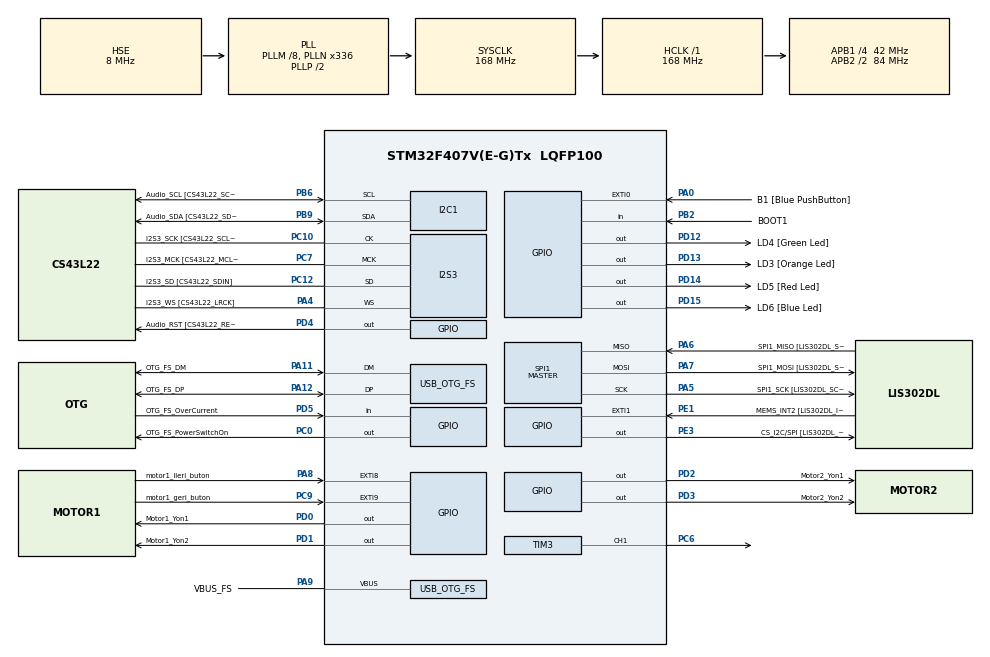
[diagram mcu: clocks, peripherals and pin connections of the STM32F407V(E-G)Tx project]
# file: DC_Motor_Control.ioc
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I2S3.AudioFreq-Half_Duplex_Master=I2S_AUDIOFREQ_96K
I2S3.ErrorAudioFreq=-2.34 %
I2S3.ErrorAudioFreq-Half_Duplex_Master=0.8 %
I2S3.FullDuplexMode=I2S_FULLDUPLEXMODE_DISABLE
I2S3.Instance=SPI$Index
I2S3.RealAudioFreq=93.75 KHz
I2S3.RealAudioFreq-Half_Duplex_Master=96.774 KHz
I2S3.VirtualMode=I2S_MODE_MASTER
Mcu.Family=STM32F4
Mcu.Name=STM32F407V(E-G)Tx
Mcu.Package=LQFP100
NVIC.EXTI9_5_IRQn=true\:0\:0\:false\:false\:true\:true\:true\:true
NVIC.OTG_FS_IRQn=true\:0\:0\:false\:false\:true\:true\:true\:true
NVIC.PriorityGroup=NVIC_PRIORITYGROUP_0
NVIC.TIM3_IRQn=true\:0\:0\:false\:false\:true\:true\:true\:true
PA0-WKUP.GPIO_Label=B1 [Blue PushButton]
PA0-WKUP.GPIO_ModeDefaultEXTI=GPIO_MODE_EVT_RISING
PA0-WKUP.GPIO_PuPd=GPIO_NOPULL
PA0-WKUP.Signal=GPXTI0
PA10.GPIO_Label=OTG_FS_ID
PA10.GPIO_Mode=GPIO_MODE_AF_PP
PA10.GPIO_PuPd=GPIO_NOPULL
PA10.GPIO_Speed=GPIO_SPEED_FREQ_LOW
PA10.Signal=USB_OTG_FS_ID
PA11.GPIO_Label=OTG_FS_DM
PA11.GPIO_Mode=GPIO_MODE_AF_PP
PA11.GPIO_PuPd=GPIO_NOPULL
PA11.GPIO_Speed=GPIO_SPEED_FREQ_LOW
PA11.Mode=Host_Only
PA11.Signal=USB_OTG_FS_DM
PA12.GPIO_Label=OTG_FS_DP
PA12.GPIO_Mode=GPIO_MODE_AF_PP
PA12.GPIO_PuPd=GPIO_NOPULL
PA12.GPIO_Speed=GPIO_SPEED_FREQ_LOW
PA12.Mode=Host_Only
PA12.Signal=USB_OTG_FS_DP
PA13.GPIO_Label=SWDIO
PA13.Mode=Serial_Wire
PA13.Signal=SYS_JTMS-SWDIO
PA14.GPIO_Label=SWCLK
PA14.Mode=Serial_Wire
PA14.Signal=SYS_JTCK-SWCLK
PA4.GPIO_Label=I2S3_WS [CS43L22_LRCK]
PA4.GPIO_Mode=GPIO_MODE_AF_PP
PA4.GPIO_PuPd=GPIO_NOPULL
PA4.GPIO_Speed=GPIO_SPEED_FREQ_LOW
PA4.Mode=Half_Duplex_Master
PA4.Signal=I2S3_WS
PA5.GPIO_Label=SPI1_SCK [LIS302DL_SCL/SPC]
PA5.GPIO_Mode=GPIO_MODE_AF_PP
PA5.GPIO_PuPd=GPIO_NOPULL
PA5.GPIO_Speed=GPIO_SPEED_FREQ_LOW
PA5.Mode=Full_Duplex_Master
PA5.Signal=SPI1_SCK
PA6.GPIO_Label=SPI1_MISO [LIS302DL_SDO]
PA6.GPIO_Mode=GPIO_MODE_AF_PP
PA6.GPIO_PuPd=GPIO_NOPULL
PA6.GPIO_Speed=GPIO_SPEED_FREQ_LOW
PA6.Mode=Full_Duplex_Master
PA6.Signal=SPI1_MISO
PA7.GPIO_Label=SPI1_MOSI [LIS302DL_SDA/SDI/SDO]
PA7.GPIO_Mode=GPIO_MODE_AF_PP
PA7.GPIO_PuPd=GPIO_NOPULL
PA7.GPIO_Speed=GPIO_SPEED_FREQ_LOW
PA7.Mode=Full_Duplex_Master
PA7.Signal=SPI1_MOSI
PA8.GPIO_Label=motor1_ileri_buton
PA8.Signal=GPXTI8
PA9.GPIO_Label=VBUS_FS
PA9.GPIO_Mode=GPIO_MODE_INPUT
PA9.GPIO_PuPd=GPIO_NOPULL
PA9.Mode=Activate_VBUS
PA9.Signal=USB_OTG_FS_VBUS
PB10.GPIO_Label=CLK_IN [MP45DT02_CLK]
PB10.GPIO_Mode=GPIO_MODE_AF_PP
PB10.GPIO_PuPd=GPIO_NOPULL
PB10.GPIO_Speed=GPIO_SPEED_FREQ_LOW
PB10.Signal=I2S2_CK
PB2.GPIO_Label=BOOT1
PB2.GPIO_Mode=GPIO_MODE_INPUT
PB2.GPIO_PuPd=GPIO_NOPULL
PB2.Signal=GPIO_Input
PB3.GPIO_Label=SWO
PB3.Signal=SYS_JTDO-SWO
PB6.GPIO_Label=Audio_SCL [CS43L22_SCL]
PB6.GPIO_Mode=GPIO_MODE_AF_OD
PB6.GPIO_Pu=GPIO_PULLUP
PB6.GPIO_PuPd=GPIO_NOPULL
PB6.GPIO_Speed=GPIO_SPEED_FREQ_LOW
PB6.Mode=I2C
PB6.Signal=I2C1_SCL
PB9.GPIO_Label=Audio_SDA [CS43L22_SDA]
PB9.GPIO_Mode=GPIO_MODE_AF_OD
PB9.GPIO_Pu=GPIO_PULLUP
PB9.GPIO_PuPd=GPIO_NOPULL
PB9.GPIO_Speed=GPIO_SPEED_FREQ_LOW
PB9.Mode=I2C
PB9.Signal=I2C1_SDA
PC0.GPIO_Label=OTG_FS_PowerSwitchOn
PC0.GPIO_PuPd=GPIO_NOPULL
PC0.GPIO_Speed=GPIO_SPEED_FREQ_LOW
PC0.PinState=GPIO_PIN_SET
PC0.Signal=GPIO_Output
PC10.GPIO_Label=I2S3_SCK [CS43L22_SCLK]
PC10.GPIO_Mode=GPIO_MODE_AF_PP
PC10.GPIO_PuPd=GPIO_NOPULL
PC10.GPIO_Speed=GPIO_SPEED_FREQ_LOW
PC10.Mode=Half_Duplex_Master
PC10.Signal=I2S3_CK
PC12.GPIO_Label=I2S3_SD [CS43L22_SDIN]
PC12.GPIO_Mode=GPIO_MODE_AF_PP
PC12.GPIO_PuPd=GPIO_NOPULL
PC12.GPIO_Speed=GPIO_SPEED_FREQ_LOW
PC12.Mode=Half_Duplex_Master
PC12.Signal=I2S3_SD
PC14-OSC32_IN.GPIO_Label=PC14-OSC32_IN
PC14-OSC32_IN.Mode=LSE-External-Oscillator
PC14-OSC32_IN.Signal=RCC_OSC32_IN
PC15-OSC32_OUT.GPIO_Label=PC15-OSC32_OUT
PC15-OSC32_OUT.Mode=LSE-External-Oscillator
PC15-OSC32_OUT.Signal=RCC_OSC32_OUT
PC3.GPIO_Label=PDM_OUT [MP45DT02_DOUT]
PC3.GPIO_Mode=GPIO_MODE_AF_PP
PC3.GPIO_PuPd=GPIO_NOPULL
PC3.GPIO_Speed=GPIO_SPEED_FREQ_LOW
PC3.Signal=I2S2_SD
PC6.Signal=S_TIM3_CH1
PC7.GPIO_Label=I2S3_MCK [CS43L22_MCLK]
PC7.GPIO_Mode=GPIO_MODE_AF_PP
PC7.GPIO_PuPd=GPIO_NOPULL
PC7.GPIO_Speed=GPIO_SPEED_FREQ_LOW
PC7.Mode=Master_Clock_Activated
PC7.Signal=I2S3_MCK
PC9.GPIO_Label=motor1_geri_buton
PC9.Signal=GPXTI9
PD0.GPIO_Label=Motor1_Yon1
PD0.Signal=GPIO_Output
PD1.GPIO_Label=Motor1_Yon2
PD1.Signal=GPIO_Output
PD12.GPIO_Label=LD4 [Green Led]
PD12.GPIO_PuPd=GPIO_NOPULL
PD12.GPIO_Speed=GPIO_SPEED_FREQ_LOW
PD12.Signal=GPIO_Output
PD13.GPIO_Label=LD3 [Orange Led]
PD13.GPIO_PuPd=GPIO_NOPULL
PD13.GPIO_Speed=GPIO_SPEED_FREQ_LOW
PD13.Signal=GPIO_Output
PD14.GPIO_Label=LD5 [Red Led]
PD14.GPIO_PuPd=GPIO_NOPULL
PD14.GPIO_Speed=GPIO_SPEED_FREQ_LOW
PD14.Signal=GPIO_Output
PD15.GPIO_Label=LD6 [Blue Led]
PD15.GPIO_PuPd=GPIO_NOPULL
PD15.GPIO_Speed=GPIO_SPEED_FREQ_LOW
PD15.Signal=GPIO_Output
PD2.GPIO_Label=Motor2_Yon1
PD2.Signal=GPIO_Output
PD3.GPIO_Label=Motor2_Yon2
PD3.Signal=GPIO_Output
PD4.GPIO_Label=Audio_RST [CS43L22_RESET]
PD4.GPIO_PuPd=GPIO_NOPULL
PD4.GPIO_Speed=GPIO_SPEED_FREQ_LOW
PD4.Signal=GPIO_Output
PD5.GPIO_Label=OTG_FS_OverCurrent
PD5.GPIO_Mode=GPIO_MODE_INPUT
PD5.GPIO_PuPd=GPIO_NOPULL
PD5.Signal=GPIO_Input
PE1.GPIO_Label=MEMS_INT2 [LIS302DL_INT2]
PE1.GPIO_ModeDefaultEXTI=GPIO_MODE_EVT_RISING
PE1.GPIO_PuPd=GPIO_NOPULL
PE1.Signal=GPXTI1
PE3.GPIO_Label=CS_I2C/SPI [LIS302DL_CS_I2C/SPI]
PE3.GPIO_PuPd=GPIO_NOPULL
PE3.GPIO_Speed=GPIO_SPEED_FREQ_LOW
PE3.Signal=GPIO_Output
PH0-OSC_IN.GPIO_Label=PH0-OSC_IN
PH0-OSC_IN.Mode=HSE-External-Oscillator
PH0-OSC_IN.Signal=RCC_OSC_IN
PH1-OSC_OUT.GPIO_Label=PH1-OSC_OUT
PH1-OSC_OUT.Mode=HSE-External-Oscillator
PH1-OSC_OUT.Signal=RCC_OSC_OUT
ProjectManager.HeapSize=0x200
ProjectManager.StackSize=0x400
ProjectManager.TargetToolchain=STM32CubeIDE
RCC.48MHZClocksFreq_Value=48000000
RCC.AHBFreq_Value=168000000
RCC.APB1CLKDivider=RCC_HCLK_DIV4
RCC.APB1Freq_Value=42000000
RCC.APB1TimFreq_Value=84000000
RCC.APB2CLKDivider=RCC_HCLK_DIV2
RCC.APB2Freq_Value=84000000
RCC.APB2TimFreq_Value=168000000
RCC.CortexFreq_Value=168000000
RCC.HCLKFreq_Value=168000000
RCC.HSE_VALUE=8000000
RCC.HSI_VALUE=16000000
RCC.PLLM=8
RCC.PLLN=336
RCC.PLLQ=7
RCC.SYSCLKFreq_VALUE=168000000
RCC.SYSCLKSource=RCC_SYSCLKSOURCE_PLLCLK
RCC.VCOOutputFreq_Value=336000000
SH.S_TIM3_CH1.0=TIM3_CH1,PWM Generation1 CH1
SPI1.BaudRatePrescaler-Full_Duplex_Master=SPI_BAUDRATEPRESCALER_2
SPI1.CalculateBaudRate-Full_Duplex_Master=42.0 MBits/s
SPI1.Direction=SPI_DIRECTION_2LINES
SPI1.Mode=SPI_MODE_MASTER
SPI1.Mode-Full_Duplex_Master=SPI_MODE_MASTER
SPI1.VirtualType=VM_MASTER
TIM3.Channel-PWM\ Generation1\ CH1=TIM_CHANNEL_1
TIM3.Period=1000-1
TIM3.Prescaler=84-1
USB_HOST.BSP.number=1
USB_HOST.USBH_HandleTypeDef-CDC_FS=hUsbHostFS
USB_HOST.VirtualModeFS=Cdc
USB_HOST0.BSP.STBoard=false
USB_HOST0.BSP.api=Unknown
USB_HOST0.BSP.instance=PC0
USB_HOST0.BSP.ip=GPIO
USB_HOST0.BSP.mode=Output
USB_HOST0.BSP.name=Drive_VBUS_FS
USB_HOST0.BSP.solution=PC0
USB_OTG_FS.VirtualMode=Host_Only
USB_OTG_FS.phy_itface=HCD_PHY_EMBEDDED
VP_TIM3_VS_ClockSourceINT.Mode=Internal
VP_USB_HOST_VS_USB_HOST_CDC_FS.Mode=CDC_FS
board=STM32F407G-DISC1

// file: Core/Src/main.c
/* USER CODE BEGIN Header */
/**
  ******************************************************************************
  * @file           : main.c
  * @brief          : Main program body
  ******************************************************************************
  * @attention
  *
  * Copyright (c) 2024 STMicroelectronics.
  * All rights reserved.
  *
  * This software is licensed under terms that can be found in the LICENSE file
  * in the root directory of this software component.
  * If no LICENSE file comes with this software, it is provided AS-IS.
  *
  ******************************************************************************
  */
/* USER CODE END Header */
#include "main.h"
#include "usb_host.h"

I2C_HandleTypeDef hi2c1;

I2S_HandleTypeDef hi2s3;

SPI_HandleTypeDef hspi1;

TIM_HandleTypeDef htim3;

void SystemClock_Config(void);
static void MX_GPIO_Init(void);
static void MX_I2C1_Init(void);
static void MX_I2S3_Init(void);
static void MX_SPI1_Init(void);
static void MX_TIM3_Init(void);
void MX_USB_HOST_Process(void);

int main(void)
{

  /* MCU Configuration--------------------------------------------------------*/

  /* Reset of all peripherals, Initializes the Flash interface and the Systick. */
  HAL_Init();

  /* Configure the system clock */
  SystemClock_Config();

  /* Initialize all configured peripherals */
  MX_GPIO_Init();
  MX_I2C1_Init();
  MX_I2S3_Init();
  MX_SPI1_Init();
  MX_USB_HOST_Init();
  MX_TIM3_Init();
  /* USER CODE BEGIN 2 */

  	  HAL_TIM_PWM_Start(&htim3, TIM_CHANNEL_1);

  /* USER CODE END 2 */

  /* Infinite loop */
  /* USER CODE BEGIN WHILE */

  	  /* Bu uygulamada, iki buton, DC motor sürücü ve DC motor kullanılmaktadır.
  	   * Butonlardan birisi ileri gitmesi diğeri geri gitmesi için kullanılmaktadır.
  	   * Uygulamada motor hızları sabit tutulmuştur.
  	   * Bir sonraki uygulamada hız ayarı ve sağa sola dönme işlemleride yapılacaktır.
  	   */

  while (1)
  {
	  int duty_cycle = 500;
	  int duty_cycle_off = 0;

	  GPIO_PinState motor1_ileri_Buton_Durumu = HAL_GPIO_ReadPin(motor1_ileri_buton_GPIO_Port, motor1_ileri_buton_Pin);
	  GPIO_PinState motor1_geri_Buton_Durumu= HAL_GPIO_ReadPin(motor1_geri_buton_GPIO_Port, motor1_geri_buton_Pin);

	  if(motor1_ileri_Buton_Durumu == 1)
	  {
		  HAL_GPIO_WritePin(Motor1_Yon1_GPIO_Port, Motor1_Yon1_Pin, 1);
		  HAL_GPIO_WritePin(Motor1_Yon2_GPIO_Port, Motor1_Yon2_Pin, 0);
	  	  __HAL_TIM_SET_COMPARE(&htim3, TIM_CHANNEL_1, duty_cycle);
	  }

	  else if(motor1_geri_Buton_Durumu == 1)
	  {
		  HAL_GPIO_WritePin(Motor1_Yon1_GPIO_Port, Motor1_Yon1_Pin, 0);
		  HAL_GPIO_WritePin(Motor1_Yon2_GPIO_Port, Motor1_Yon2_Pin, 1);
	  	  __HAL_TIM_SET_COMPARE(&htim3, TIM_CHANNEL_1, duty_cycle);
	  }

	  else
	  {
		  HAL_GPIO_WritePin(Motor1_Yon1_GPIO_Port, Motor1_Yon1_Pin, 0);
		  HAL_GPIO_WritePin(Motor1_Yon2_GPIO_Port, Motor1_Yon2_Pin, 0);
	  	  __HAL_TIM_SET_COMPARE(&htim3, TIM_CHANNEL_1, duty_cycle_off);
	  }

    /* USER CODE END WHILE */
    MX_USB_HOST_Process();

  }
}

void SystemClock_Config(void)
{
  RCC_OscInitTypeDef RCC_OscInitStruct = {0};
  RCC_ClkInitTypeDef RCC_ClkInitStruct = {0};

  /** Configure the main internal regulator output voltage
  */
  __HAL_RCC_PWR_CLK_ENABLE();
  __HAL_PWR_VOLTAGESCALING_CONFIG(PWR_REGULATOR_VOLTAGE_SCALE1);

  /** Initializes the RCC Oscillators according to the specified parameters
  * in the RCC_OscInitTypeDef structure.
  */
  RCC_OscInitStruct.OscillatorType = RCC_OSCILLATORTYPE_HSE;
  RCC_OscInitStruct.HSEState = RCC_HSE_ON;
  RCC_OscInitStruct.PLL.PLLState = RCC_PLL_ON;
  RCC_OscInitStruct.PLL.PLLSource = RCC_PLLSOURCE_HSE;
  RCC_OscInitStruct.PLL.PLLM = 8;
  RCC_OscInitStruct.PLL.PLLN = 336;
  RCC_OscInitStruct.PLL.PLLP = RCC_PLLP_DIV2;
  RCC_OscInitStruct.PLL.PLLQ = 7;
  if (HAL_RCC_OscConfig(&RCC_OscInitStruct) != HAL_OK)
  {
    Error_Handler();
  }

  /** Initializes the CPU, AHB and APB buses clocks
  */
  RCC_ClkInitStruct.ClockType = RCC_CLOCKTYPE_HCLK|RCC_CLOCKTYPE_SYSCLK
                              |RCC_CLOCKTYPE_PCLK1|RCC_CLOCKTYPE_PCLK2;
  RCC_ClkInitStruct.SYSCLKSource = RCC_SYSCLKSOURCE_PLLCLK;
  RCC_ClkInitStruct.AHBCLKDivider = RCC_SYSCLK_DIV1;
  RCC_ClkInitStruct.APB1CLKDivider = RCC_HCLK_DIV4;
  RCC_ClkInitStruct.APB2CLKDivider = RCC_HCLK_DIV2;

  if (HAL_RCC_ClockConfig(&RCC_ClkInitStruct, FLASH_LATENCY_5) != HAL_OK)
  {
    Error_Handler();
  }
}

static void MX_I2C1_Init(void)
{

  hi2c1.Instance = I2C1;
  hi2c1.Init.ClockSpeed = 100000;
  hi2c1.Init.DutyCycle = I2C_DUTYCYCLE_2;
  hi2c1.Init.OwnAddress1 = 0;
  hi2c1.Init.AddressingMode = I2C_ADDRESSINGMODE_7BIT;
  hi2c1.Init.DualAddressMode = I2C_DUALADDRESS_DISABLE;
  hi2c1.Init.OwnAddress2 = 0;
  hi2c1.Init.GeneralCallMode = I2C_GENERALCALL_DISABLE;
  hi2c1.Init.NoStretchMode = I2C_NOSTRETCH_DISABLE;
  if (HAL_I2C_Init(&hi2c1) != HAL_OK)
  {
    Error_Handler();
  }

}

static void MX_I2S3_Init(void)
{

  hi2s3.Instance = SPI3;
  hi2s3.Init.Mode = I2S_MODE_MASTER_TX;
  hi2s3.Init.Standard = I2S_STANDARD_PHILIPS;
  hi2s3.Init.DataFormat = I2S_DATAFORMAT_16B;
  hi2s3.Init.MCLKOutput = I2S_MCLKOUTPUT_ENABLE;
  hi2s3.Init.AudioFreq = I2S_AUDIOFREQ_96K;
  hi2s3.Init.CPOL = I2S_CPOL_LOW;
  hi2s3.Init.ClockSource = I2S_CLOCK_PLL;
  hi2s3.Init.FullDuplexMode = I2S_FULLDUPLEXMODE_DISABLE;
  if (HAL_I2S_Init(&hi2s3) != HAL_OK)
  {
    Error_Handler();
  }

}

static void MX_SPI1_Init(void)
{

  /* SPI1 parameter configuration*/
  hspi1.Instance = SPI1;
  hspi1.Init.Mode = SPI_MODE_MASTER;
  hspi1.Init.Direction = SPI_DIRECTION_2LINES;
  hspi1.Init.DataSize = SPI_DATASIZE_8BIT;
  hspi1.Init.CLKPolarity = SPI_POLARITY_LOW;
  hspi1.Init.CLKPhase = SPI_PHASE_1EDGE;
  hspi1.Init.NSS = SPI_NSS_SOFT;
  hspi1.Init.BaudRatePrescaler = SPI_BAUDRATEPRESCALER_2;
  hspi1.Init.FirstBit = SPI_FIRSTBIT_MSB;
  hspi1.Init.TIMode = SPI_TIMODE_DISABLE;
  hspi1.Init.CRCCalculation = SPI_CRCCALCULATION_DISABLE;
  hspi1.Init.CRCPolynomial = 10;
  if (HAL_SPI_Init(&hspi1) != HAL_OK)
  {
    Error_Handler();
  }

}

static void MX_TIM3_Init(void)
{

  TIM_ClockConfigTypeDef sClockSourceConfig = {0};
  TIM_MasterConfigTypeDef sMasterConfig = {0};
  TIM_OC_InitTypeDef sConfigOC = {0};

  htim3.Instance = TIM3;
  htim3.Init.Prescaler = 84-1;
  htim3.Init.CounterMode = TIM_COUNTERMODE_UP;
  htim3.Init.Period = 1000-1;
  htim3.Init.ClockDivision = TIM_CLOCKDIVISION_DIV1;
  htim3.Init.AutoReloadPreload = TIM_AUTORELOAD_PRELOAD_DISABLE;
  if (HAL_TIM_Base_Init(&htim3) != HAL_OK)
  {
    Error_Handler();
  }
  sClockSourceConfig.ClockSource = TIM_CLOCKSOURCE_INTERNAL;
  if (HAL_TIM_ConfigClockSource(&htim3, &sClockSourceConfig) != HAL_OK)
  {
    Error_Handler();
  }
  if (HAL_TIM_PWM_Init(&htim3) != HAL_OK)
  {
    Error_Handler();
  }
  sMasterConfig.MasterOutputTrigger = TIM_TRGO_RESET;
  sMasterConfig.MasterSlaveMode = TIM_MASTERSLAVEMODE_DISABLE;
  if (HAL_TIMEx_MasterConfigSynchronization(&htim3, &sMasterConfig) != HAL_OK)
  {
    Error_Handler();
  }
  sConfigOC.OCMode = TIM_OCMODE_PWM1;
  sConfigOC.Pulse = 0;
  sConfigOC.OCPolarity = TIM_OCPOLARITY_HIGH;
  sConfigOC.OCFastMode = TIM_OCFAST_DISABLE;
  if (HAL_TIM_PWM_ConfigChannel(&htim3, &sConfigOC, TIM_CHANNEL_1) != HAL_OK)
  {
    Error_Handler();
  }
  HAL_TIM_MspPostInit(&htim3);

}

static void MX_GPIO_Init(void)
{
  GPIO_InitTypeDef GPIO_InitStruct = {0};

  /* GPIO Ports Clock Enable */
  __HAL_RCC_GPIOE_CLK_ENABLE();
  __HAL_RCC_GPIOC_CLK_ENABLE();
  __HAL_RCC_GPIOH_CLK_ENABLE();
  __HAL_RCC_GPIOA_CLK_ENABLE();
  __HAL_RCC_GPIOB_CLK_ENABLE();
  __HAL_RCC_GPIOD_CLK_ENABLE();

  /*Configure GPIO pin Output Level */
  HAL_GPIO_WritePin(CS_I2C_SPI_GPIO_Port, CS_I2C_SPI_Pin, GPIO_PIN_RESET);

  /*Configure GPIO pin Output Level */
  HAL_GPIO_WritePin(OTG_FS_PowerSwitchOn_GPIO_Port, OTG_FS_PowerSwitchOn_Pin, GPIO_PIN_SET);

  /*Configure GPIO pin Output Level */
  HAL_GPIO_WritePin(GPIOD, LD4_Pin|LD3_Pin|LD5_Pin|LD6_Pin
                          |Motor1_Yon1_Pin|Motor1_Yon2_Pin|Motor2_Yon1_Pin|Motor2_Yon2_Pin
                          |Audio_RST_Pin, GPIO_PIN_RESET);

  /*Configure GPIO pin : CS_I2C_SPI_Pin */
  GPIO_InitStruct.Pin = CS_I2C_SPI_Pin;
  GPIO_InitStruct.Mode = GPIO_MODE_OUTPUT_PP;
  GPIO_InitStruct.Pull = GPIO_NOPULL;
  GPIO_InitStruct.Speed = GPIO_SPEED_FREQ_LOW;
  HAL_GPIO_Init(CS_I2C_SPI_GPIO_Port, &GPIO_InitStruct);

  /*Configure GPIO pin : OTG_FS_PowerSwitchOn_Pin */
  GPIO_InitStruct.Pin = OTG_FS_PowerSwitchOn_Pin;
  GPIO_InitStruct.Mode = GPIO_MODE_OUTPUT_PP;
  GPIO_InitStruct.Pull = GPIO_NOPULL;
  GPIO_InitStruct.Speed = GPIO_SPEED_FREQ_LOW;
  HAL_GPIO_Init(OTG_FS_PowerSwitchOn_GPIO_Port, &GPIO_InitStruct);

  /*Configure GPIO pin : PDM_OUT_Pin */
  GPIO_InitStruct.Pin = PDM_OUT_Pin;
  GPIO_InitStruct.Mode = GPIO_MODE_AF_PP;
  GPIO_InitStruct.Pull = GPIO_NOPULL;
  GPIO_InitStruct.Speed = GPIO_SPEED_FREQ_LOW;
  GPIO_InitStruct.Alternate = GPIO_AF5_SPI2;
  HAL_GPIO_Init(PDM_OUT_GPIO_Port, &GPIO_InitStruct);

  /*Configure GPIO pin : B1_Pin */
  GPIO_InitStruct.Pin = B1_Pin;
  GPIO_InitStruct.Mode = GPIO_MODE_EVT_RISING;
  GPIO_InitStruct.Pull = GPIO_NOPULL;
  HAL_GPIO_Init(B1_GPIO_Port, &GPIO_InitStruct);

  /*Configure GPIO pin : BOOT1_Pin */
  GPIO_InitStruct.Pin = BOOT1_Pin;
  GPIO_InitStruct.Mode = GPIO_MODE_INPUT;
  GPIO_InitStruct.Pull = GPIO_NOPULL;
  HAL_GPIO_Init(BOOT1_GPIO_Port, &GPIO_InitStruct);

  /*Configure GPIO pin : CLK_IN_Pin */
  GPIO_InitStruct.Pin = CLK_IN_Pin;
  GPIO_InitStruct.Mode = GPIO_MODE_AF_PP;
  GPIO_InitStruct.Pull = GPIO_NOPULL;
  GPIO_InitStruct.Speed = GPIO_SPEED_FREQ_LOW;
  GPIO_InitStruct.Alternate = GPIO_AF5_SPI2;
  HAL_GPIO_Init(CLK_IN_GPIO_Port, &GPIO_InitStruct);

  /*Configure GPIO pins : LD4_Pin LD3_Pin LD5_Pin LD6_Pin
                           Motor1_Yon1_Pin Motor1_Yon2_Pin Motor2_Yon1_Pin Motor2_Yon2_Pin
                           Audio_RST_Pin */
  GPIO_InitStruct.Pin = LD4_Pin|LD3_Pin|LD5_Pin|LD6_Pin
                          |Motor1_Yon1_Pin|Motor1_Yon2_Pin|Motor2_Yon1_Pin|Motor2_Yon2_Pin
                          |Audio_RST_Pin;
  GPIO_InitStruct.Mode = GPIO_MODE_OUTPUT_PP;
  GPIO_InitStruct.Pull = GPIO_NOPULL;
  GPIO_InitStruct.Speed = GPIO_SPEED_FREQ_LOW;
  HAL_GPIO_Init(GPIOD, &GPIO_InitStruct);

  /*Configure GPIO pin : motor1_geri_buton_Pin */
  GPIO_InitStruct.Pin = motor1_geri_buton_Pin;
  GPIO_InitStruct.Mode = GPIO_MODE_IT_RISING;
  GPIO_InitStruct.Pull = GPIO_NOPULL;
  HAL_GPIO_Init(motor1_geri_buton_GPIO_Port, &GPIO_InitStruct);

  /*Configure GPIO pin : motor1_ileri_buton_Pin */
  GPIO_InitStruct.Pin = motor1_ileri_buton_Pin;
  GPIO_InitStruct.Mode = GPIO_MODE_IT_RISING;
  GPIO_InitStruct.Pull = GPIO_NOPULL;
  HAL_GPIO_Init(motor1_ileri_buton_GPIO_Port, &GPIO_InitStruct);

  /*Configure GPIO pin : OTG_FS_OverCurrent_Pin */
  GPIO_InitStruct.Pin = OTG_FS_OverCurrent_Pin;
  GPIO_InitStruct.Mode = GPIO_MODE_INPUT;
  GPIO_InitStruct.Pull = GPIO_NOPULL;
  HAL_GPIO_Init(OTG_FS_OverCurrent_GPIO_Port, &GPIO_InitStruct);

  /*Configure GPIO pin : MEMS_INT2_Pin */
  GPIO_InitStruct.Pin = MEMS_INT2_Pin;
  GPIO_InitStruct.Mode = GPIO_MODE_EVT_RISING;
  GPIO_InitStruct.Pull = GPIO_NOPULL;
  HAL_GPIO_Init(MEMS_INT2_GPIO_Port, &GPIO_InitStruct);

  /* EXTI interrupt init*/
  HAL_NVIC_SetPriority(EXTI9_5_IRQn, 0, 0);
  HAL_NVIC_EnableIRQ(EXTI9_5_IRQn);

}

/* USER CODE BEGIN 4 */

/*
void EXTI0_IRQHandler(void)
{
  HAL_GPIO_EXTI_IRQHandler(motor1_ileri_buton_Pin);
}

void EXTI1_IRQHandler(void)
{
  HAL_GPIO_EXTI_IRQHandler(motor1_geri_buton_Pin);
}

void HAL_GPIO_EXTI_Callback(uint16_t GPIO_Pin)
{
  int duty_cycle = 500;
  GPIO_PinState motor1_ileri_Buton_Durumu = HAL_GPIO_ReadPin(motor1_ileri_buton_GPIO_Port, motor1_ileri_buton_Pin);

  if(motor1_ileri_Buton_Durumu == 1)
  {
	  HAL_GPIO_WritePin(Motor1_Yon1_GPIO_Port, Motor1_Yon1_Pin, 1);
	  HAL_GPIO_WritePin(Motor1_Yon2_GPIO_Port, Motor1_Yon2_Pin, 0);
  	  __HAL_TIM_SET_COMPARE(&htim3, TIM_CHANNEL_1, duty_cycle);

  }
}
*/
/* USER CODE END 4 */

void Error_Handler(void)
{
  __disable_irq();
  while (1)
  {
  }
}
